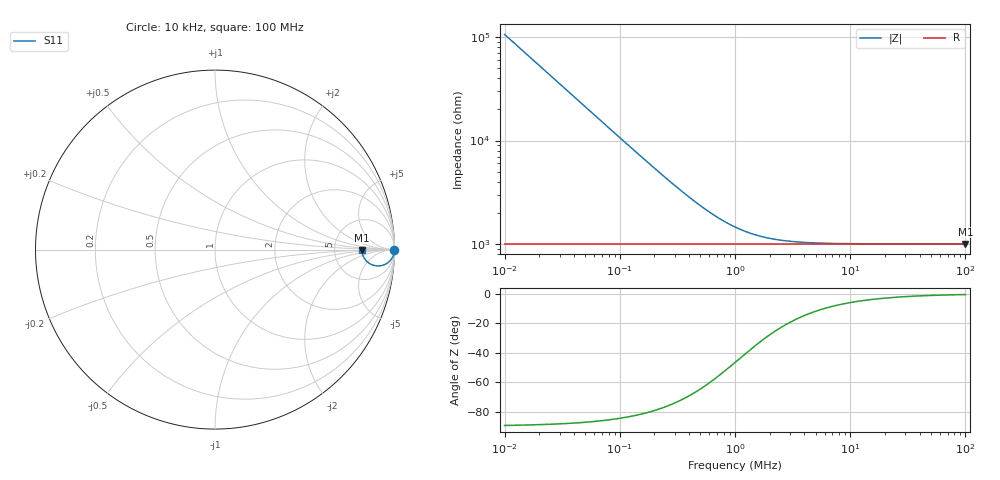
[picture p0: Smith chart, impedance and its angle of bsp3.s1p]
! AWR Design Environment (7670) Wed Feb 10 14:44:16 2016
! Document = 'bsp3'
! nPorts: 1, nXvals: 401
# HZ Z MA R 100
!Freq MagZ11 AngZ11
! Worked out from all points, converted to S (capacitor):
!   401 points, 10 kHz to 100 MHz, reference 100 ohm
!   read as one part to ground: C = 150 pF near 10.47 kHz
!   lowest |Z| = 1 kohm at 100 MHz (marker M1)
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10000  1061 -89.5
31622.78  335.7 -88.3
58884.37  180.5 -86.8
100000  106.6 -84.6
141253.8  75.78 -82.4
194984.5  55.33 -79.6
251188.6  43.41 -76.7
316227.8  35.01 -73.4
416869.4  27.35 -68.6
537031.8  22.14 -63.2
630957.3  19.56 -59.3
741310.2  17.46 -55.1
870963.6  15.76 -50.6
1000000  14.58 -46.7
1148154  13.62 -42.7
1318257  12.84 -38.8
1548817  12.12 -34.4
1819701  11.58 -30.2
2089296  11.22 -26.9
2398833  10.93 -23.9
3162278  10.55 -18.5
4073803  10.33 -14.6
5495409  10.18 -10.9
7413102  10.1 -8.1
1e7  10.06 -6.1
1.698244e7  10.02 -3.6
3.162278e7  10.01 -1.9
1e8  10 -0.6
